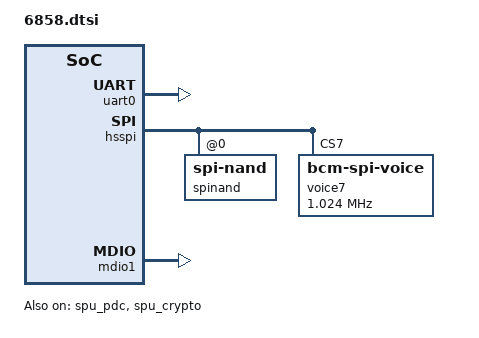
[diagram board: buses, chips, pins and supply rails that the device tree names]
/dts-v1/;

#include <dt-bindings/interrupt-controller/arm-gic.h>
#include <dt-bindings/interrupt-controller/irq.h>

#include "linux_autoconf.h"

#include "../../boot_rsvdmem.dtsi"
#include "../../bcm_thermal.dtsi"

/ {
	/* memory reservations */
	#include "../../bcm_rsvdmem.dtsi"

	/* memc */
	memory_controller {
		#define MEMC_REG_NAMES	"memc-int-clear-reg", \
					"memc-int-mask-clear-reg", \
					"phyctl_idle_pad_ctl",  \
					"phyctl_idle_pad_en0",  \
					"phyctl_idle_pad_en1",  \
					"phybl0_idle_pad_ctl",  \
					"phybl1_idle_pad_ctl",  \
					"phybl2_idle_pad_ctl",  \
					"phybl3_idle_pad_ctl",  \
					"phybl0_clock_idle",    \
					"phybl1_clock_idle",    \
					"phybl2_clock_idle",    \
					"phybl3_clock_idle",    \
					"auto_self_refresh",    \
					"glb_gcfg"

		#define MEMC_REG	<0 0x80180E08 0 4>, \
					<0 0x80180E14 0 4>, \
					<0 0x801A0034 0 4>, \
					<0 0x801A0038 0 4>, \
					<0 0x801A003C 0 4>, \
					<0 0x801A04AC 0 4>, \
					<0 0x801A06AC 0 4>, \
					<0 0x801A08AC 0 4>, \
					<0 0x801A0AAC 0 4>, \
					<0 0x801A04E0 0 4>, \
					<0 0x801A06E0 0 4>, \
					<0 0x801A08E0 0 4>, \
					<0 0x801A0AE0 0 4>, \
					<0 0x8018025C 0 4>, \
					<0 0x80180004 0 4>

		#define MEMC_CPU_INT_LINE		18

		#include "../../ip/memc.dtsi"
	};

	aliases {
		serial0 = &uart0;
		serial1 = &uart1;
		spi1 = &hsspi; /* 0 = legacy, 1 = high speed */
		hs_serial0 = &hs_uart0;
		spinand0 = &spinand;
		nand0 = &nand;
	};

	chosen {
		stdout-path = "serial0:115200n8";
		/* increase coherent_pool size */
		bootargs = "coherent_pool=4M cpuidle_sysfs_switch pci=pcie_bus_safe console=ttyS0,115200 earlyprintk  rootwait rng_core.default_quality=1024";
	};

	/* clocks */
	#define PERIPH_CLK			200000000
	#define HS_SPI_PLL_CLK		400000000
	#include "../../ip/bcm_clocks.dtsi"

	misc_io {
		compatible = "brcm,misc-io";
		misc-periph-chip-id-rev = <0x0 0xff800000 0x0 0x4>;
		misc-periph-chip-id-mask = <0xffff0000>;
		misc-periph-chip-id-shift = <16>;
		misc-periph-chip-rev-mask = <0xff>;
	};

	/* PMC */
	pmc: pmc {
		#define PMC_REG_OFFSET              0x0 0x80201000
		#define PMC_REG_SIZE                0x0 0x3800
		#define PROCMON_REG_OFFSET          0x0 0x80280000
		#define PROCMON_REG_SIZE            0x0 0x184
		#include "../../ip/bcm_pmc_1_x.dtsi"
	};

	cci: cci {
		#define CCI_OFFSET					0x0 0x81090000 
		#define CCI_SIZE					0x0 0x6000
		#define SLAVEINTF_CPU_NUM			3
		#include "../../ip/bcm_arm_cci400.dtsi"
	};

	/* wan type auto detect */
	wantype_detect {
		#define GPON_GENERAL_CONFIG_ADDR	0x0 0x80150000
		#define GPON_GENERAL_CONFIG_SIZE	0x0 0x10
		#define EPON_TOP_ADDR			0x0 0x80140000
		#define EPON_TOP_SIZE			0x0 0x1C
		#define EPON_LIF_ADDR			0x0 0x80141800
		#define EPON_LIF_SIZE			0x0 0x110
		#define EPON_XPCSR_ADDR			0x0 0x80143000
		#define EPON_XPCSR_SIZE			0x0 0x124
		#define NGPON_RXGEN_ADDR		0x0 0x80160000
		#define NGPON_RXGEN_SIZE		0x0 0x80
		#include "../../ip/bcm_wantype_detect.dtsi"
	};

#if (defined(CONFIG_BCM_PDC) || defined(CONFIG_BCM_PDC_MODULE)) && \
    (defined(CONFIG_BCM_SPU) || defined(CONFIG_BCM_SPU_MODULE))
	/* spu */
	#define SPU_DMA_ADDR			0x00000000 0x8001c000
	#define SPU_DMA_SIZE			0x00000000 0x448
	#define SPU_DMA_NUM_CHAN		1
	#define SPU_DMA_NUM_AE			1
	#define SPU_CRYPTO_ADDR			0x00000000 0x8001d000
	#define SPU_CRYPTO_SIZE			0x00000000 0x64
	#define SPU_GMAC_SPI			118
	#include "../../ip/bcm_spu.dtsi"
#endif

	sata0: sata {
		#define AHCI_ADDR		0x0 0x8000a000
		#define AHCI_SIZE		0x0 0x2c
		#define SATA_CTRL_ADDR	0x0 0x80008000
		#define SATA_CTRL_SIZE	0x0 0x2000
		#define AHCI_SS_ADDR	0x0 0x8000a100
		#define AHCI_SS_SIZE	0x0 0x80
		#define AHCI_IRQ		45
		#include "../../ip/bcm_sata.dtsi"
	};

	/* UBUS */
	ubus: ubus {
		compatible = "simple-bus";
		#address-cells = <2>;
		#size-cells = <2>;
		ranges;

		ubus_sys: ubus_sys {
			#address-cells = <2>;
			#size-cells = <2>;
			#define UBUS_SYSTOP_OFFSET         0x0 0x83000000
			#define UBUS_SYSTOP_SIZE           0x0 0x80
			#define UBUS_REGISTRATION_OFFSET   0x0 0x83000200
			#define UBUS_REGISTRATION_SIZE     0x0 0x80
			#define UBUS_COHERENCY_PORT_OFFSET 0x0 0x810A0400
			#define UBUS_COHERENCY_PORT_SIZE   0x0 0x400
			#define UBUS_MODULE_XRDP           0x0
			#include "../../ip/bcm_ubus4.dtsi"
			ubus_mst_sys: ubus_mst {
				reg-names = "BIU", "PER", "USB", "PERDMA",
					"SPU", "PCIE0", "PCIE2", "PMC",
					"TOP_BUFF";
				reg = <0x0 0x83020000 0x0 0x1000>,
					<0x0 0x83058000 0x0 0x1000>,
					<0x0 0x83038000 0x0 0x1000>,
					<0x0 0x83060000 0x0 0x1000>,
					<0x0 0x83030000 0x0 0x1000>,
					<0x0 0x8300C000 0x0 0x1000>,
					<0x0 0x83014000 0x0 0x1000>,
					<0x0 0x83044000 0x0 0x1000>,
					<0x0 0x830e0000 0x0 0x1000>;
			};
		};

		ubus_xrdp: ubus_xrdp {
			#address-cells = <2>;
			#size-cells = <2>;
			#define UBUS_SYSTOP_OFFSET        0x0 0x834d4000
			#define UBUS_SYSTOP_SIZE          0x0 0x80
			#define UBUS_REGISTRATION_OFFSET  0x0 0x834d4200
			#define UBUS_REGISTRATION_SIZE    0x0 0x80
			#define UBUS_MODULE_XRDP          0x1
			#include "../../ip/bcm_ubus4.dtsi"
			ubus_mst_xrdp: ubus_mst {
				reg-names = "QM", "DQM", "DMA0", "DMA1",
					"NATC", "RQ0", "RQ1", "RQ2",
					"RQ3", "XRDP_BUFF";
				reg = <0x0 0x834AC000 0x0 0x1000>,
					<0x0 0x834A4000 0x0 0x1000>,
					<0x0 0x83464000 0x0 0x1000>,
					<0x0 0x83468000 0x0 0x1000>,
					<0x0 0x834A0000 0x0 0x1000>,
					<0x0 0x83480000 0x0 0x1000>,
					<0x0 0x83488000 0x0 0x1000>,
					<0x0 0x83490000 0x0 0x1000>,
					<0x0 0x83498000 0x0 0x1000>,
					<0x0 0x834e4000 0x0 0x1000>;
			};
		};

		ubus_dcm_sys: ubus_dcm_sys {
			#define UBUS_DCM_CLK_OFFSET  0x0 0x83000080
			#define UBUS_DCM_CLK_SIZE    0x0 0x80
			#define UBUS_MODULE_XRDP     0x0
			#include "../../ip/bcm_ubus4_dcm.dtsi"
		};
		ubus_dcm_xrdp: ubus_dcm_xrdp {
			#define UBUS_DCM_CLK_OFFSET  0x0 0x834d4080
			#define UBUS_DCM_CLK_SIZE    0x0 0x80
			#define UBUS_MODULE_XRDP     0x1
			#include "../../ip/bcm_ubus4_dcm.dtsi"
		};
	};

	periph {
		compatible = "simple-bus";
		#address-cells = <2>;
		#size-cells = <2>;
		ranges = <0x0 0x0 0x0 0xff800000 0x0 0x62000>;

		strap: strap {
			#define STRAP_REG_OFFSET            0x0 0x2600
			#define STRAP_REG_SIZE              0x0 0x4
			#include "../../ip/bcm_strap.dtsi"
			boot-select-0=<5 1>;
			boot-select-1=<6 1>;
			boot-select-2=<7 1>;
			boot-select-3=<8 1>;
			boot-select-4=<9 1>;
			boot-select-5=<11 1>;
			bootrom-boot=<10 0>;
			sata-strap-enable-bit=<3 0>;
			strap-cpu-slow-freq=<14 1>;
		};

		dying_gasp: dying_gasp {
			#define DG_PERIPH_REG_OFFSET	0x0 0x26D8
			#define DG_PERIPH_REG_SIZE	0x0 0x4
			#define DG_UART_DR_OFFSET	0x0 0x654
			#define DG_UART_DR_SIZE		0x0 0x4
			#include "../../ip/bcm_dgasp_periph.dtsi"
			interrupts = <GIC_SPI 29 IRQ_TYPE_LEVEL_HIGH>;
		};

		otp: otp {
			#define OTP_REG_OFFSET            0x0 0xe00 
			#define OTP_REG_SIZE              0x0 0x3c
			#include "../../ip/bcm_otp.dtsi"
			sec-additional-validation;
		};

    	/* boot state */
		boot_state: boot_state {
			#define RESET_REASON_OFFSET  0x0 0x2624
			#define RESET_REASON_SIZE    0x0 0x4
			#define RESET_STATUS_OFFSET  0x0 0x2748
			#define RESET_STATUS_SIZE    0x0 0x4
			#include "../../ip/bcm_boot_state_v2.dtsi"
		};

		/* NAND controller */
		nand: nand {
			pinctrl-0 = <&data_pins &nand_ctrl_pins>;
			pinctrl-names = "default";
			#define NAND_CTRL_OFFSET		0x0 0x1800
			#define NAND_CTRL_SIZE			0x0 0x400
			#define NAND_INTR_OFFSET		0x0 0x2000
			#define NAND_INTR_SIZE			0x0 0x10
			#define NAND_CACHE_OFFSET		0x0 0x1C00
			#define NAND_CACHE_SIZE			0x0 0x200
			#include "../../ip/bcm_nand7_1.dtsi"
		};

	   	/* EMMC */
		sdhci: sdhci {
			pinctrl-0 = <&emmc_ctrl_pins>;
			pinctrl-names="default";
			#define SDHCI_OFFSET			0x00000000 0x58000
			#define SDHCI_SIZE			0x00000000 0x100
			#define SDHCI_TOPCFG_OFFSET		0x00000000 0x58100
			#define SDHCI_TOPCFG_SIZE		0x00000000 0x100
			#define SDHCI_BOOT_OFFSET		0x00000000 0x58200
			#define SDHCI_BOOT_SIZE			0x00000000 0x40
			#define SDHCI_AHBSS_CTRL_OFFSET		0x00000000 0x58300
			#define SDHCI_AHBSS_CTRL_SIZE		0x00000000 0x100
			#define SDIO_EMMC_SPI			95
			#include "../../ip/bcm_sdhci.dtsi"
		};

		hs_uart0: hs_serial0 {
			#define UART_OFFSET			0x0 0x58400
			#define UART_SIZE			0x0 0x1E0
			#define UART_SPI 			93
			#include "../../ip/bcm_hs_uart.dtsi"
		};

		/* UART 1*/
		uart0: serial0 {
			#define UART_OFFSET			0x0 0x640
			#define UART_SIZE			0x0 0x18
			#define UART_SPI 			32
			#include "../../ip/bcm_uart.dtsi"
		};

		/* UART 2*/
		uart1: serial1 {
			#define UART_OFFSET			0x0 0x660
			#define UART_SIZE			0x0 0x18
			#define UART_SPI 			33
			#include "../../ip/bcm_uart.dtsi"
		};

		/* HS SPI */
		hsspi: spi {
			pinctrl-0 = <&spim_group_pins>;
			pinctrl-names = "default";
			#define HS_SPI_OFFSET			0x0 0x1000
			#define HS_SPI_SIZE			0x0 0x600
			#define HS_SPI_MAX_FREQ			50000000
			/* #define HS_SPIM_SPI			37 */
			#include "../../ip/bcm_hsspi.dtsi"
			spinand: spi-nand@0 {
				pinctrl-0 = <&spim_ss0_b_pin_105>;
				pinctrl-names = "default";
				#define SPINAND_MAX_FREQ	50000000
				#include "../../ip/bcm_spinand.dtsi"
			};
			voice7 {
				pinctrl-0 = <&a_pcm_sdin_pin_0 &a_pcm_sdout_pin_1 &a_pcm_clk_pin_2 &a_pcm_fs_pin_3>;
				pinctrl-names = "default";
				compatible = "bcm-spi-voice";
				reg = <7>; /* chip select 7 */
				spi-index = <7>;/* ZSI/ISI header position index */
				spi-max-frequency = <1024000>;
			};
		};

		bcm63xx-apm-pcm {
			compatible = "brcm,bcm63xx-apm-pcm";
			reg = <0x0 0x60000 0x0 0x1c60>;
			interrupts = <GIC_SPI 114 IRQ_TYPE_LEVEL_HIGH>;
		};		

		rng: rng {
			#define RNG200_OFFSET			0x0 0x00000b80
			#define RNG200_SIZE			0x0 0x28
			#include "../../ip/bcm_rng200.dtsi"
		};

		i2c0: i2c0 {
			#define I2C_OFFSET			0x0 0x2100
			#define I2C_SIZE			0x0 0x60
			#include "../../ip/bcm_i2c_bus.dtsi"
		};

		/* use second i2c bus for pon sfp i2c device */
		i2c1: i2c1 {
			#define I2C_OFFSET			0x0 0x5a800
			#define I2C_SIZE			0x0 0x60
			#include "../../ip/bcm_i2c_bus.dtsi"
		};

		/* watchdog */
		wdt: watchdog {
			#define WATCHDOG_OFFSET			0x0 0x2780
			#define WATCHDOG_SIZE			0x0 0x10
			#define WATCHDOG_TIMEOUT		80
			#include "../../ip/bcm_wdt.dtsi"
			interrupts = <GIC_SPI 14 IRQ_TYPE_LEVEL_HIGH>;
		};

		/* periph timers */
		timers: timers {
			#define TIMERS_OFFSET		0x0 0x2700
			#define TIMERS__SIZE		0x0 0x48
			#define TIMER0_SPI			64
			#define TIMER1_SPI			65
			#define TIMER2_SPI			66
			#define TIMER3_SPI			67
			#include "../../ip/bcm_timer.dtsi"
		};

		/* watchdog reboot */
		wdt-reboot {
			compatible = "wdt-reboot";
			wdt = <&wdt>;
		};
		
		/* sotp */
		sotp {
			#define SOTP_OFFSET			0x0 0xc00
			#define SOTP_SIZE			0x0 0x84
			#include "../../ip/bcm_sotp.dtsi"
		};
		
		/* pinctrl */
		pincontroller: pinctrl {
			#define PINCTRL_OFFSET       0x0 0x554
			#define PINCTRL_SIZE         0x0 0xc
			#define PINCTRL_NUM_PINS     118
			#define PINCTRL_NUM_FUNC     8
			#define PINCTRL_GPIO_FUNC    5
			#include "../../ip/bcm_bca_pinctrl.dtsi"
			#include "6858_pinctrl.dtsi"
		};

		/* gpio */
		gpioc: gpioc {
			#define GPIO_DIR_OFFSET      0x0 0x500
			#define GPIO_DIR_SIZE        0x0 0x20
			#define GPIO_DATA_OFFSET     0x0 0x520
			#define GPIO_DATA_SIZE       0x0 0x20
			#define NUM_OF_GPIOS         118
			#include "../../ip/bcm_bca_gpio.dtsi"
		};

		/* external interrups */
		bca_extintr: bca_extintr0 {
			#define EXTINTR_OFFSET       0x0 0x4
			#define EXTINTR_SIZE         0x0 0x48
			#define MAX_EXT_INTR         8
			#include "../../ip/bcm_bca_extintr.dtsi"
			external_interrupts = <105 106 107 108 109 110 48 49>;
			clear_workarround;
		};
			
		/* Led Controller */
		led_ctrl: led_ctrl {
			#define LED_GLBL_CTRL_OFFSET     0x0 0x800
			#define LED_GLBL_CTRL_SIZE       0x0 0x4 
			#define LED_HW_EN_OFFSET         0x0 0x808
			#define LED_HW_EN_SIZE           0x0 0x4
			#define LED_SER_SHIFT_OFFSET     0x0 0x80c
			#define LED_SER_SHIFT_SIZE       0x0 0x4
			#define LED_FLASH_RATE_OFFSET    0x0 0x810
			#define LED_FLASH_RATE_SIZE      0x0 0x10
			#define LED_BRIGHTNESS_OFFSET    0x0 0x820
			#define LED_BRIGHTNESS_SIZE      0x0 0x10
			#define LED_POWER_LED_CFG_OFFSET 0x0 0x830
			#define LED_POWER_LED_CFG_SIZE   0x0 0x4
			#define LED_POWER_LUT_OFFSET     0x0 0x834
			#define LED_POWER_LUT_SIZE       0x0 0x80
			#define LED_HW_POLARITY_OFFSET   0x0 0x8b4
			#define LED_HW_POLARITY_SIZE     0x0 0x4
			#define LED_SW_DATA_OFFSET       0x0 0x8b8
			#define LED_SW_DATA_SIZE         0x0 0x4
			#define LED_SW_POLARITY_OFFSET   0x0 0x8bc
			#define LED_SW_POLARITY_SIZE     0x0 0x4
			#define LED_PAR_POLARITY_OFFSET  0x0 0x8c0
			#define LED_PAR_POLARITY_SIZE    0x0 0x4
			#define LED_SER_POLARITY_OFFSET  0x0 0x8c4
			#define LED_SER_POLARITY_SIZE    0x0 0x4
			#define LED_MASK_OFFSET          0x0 0x804
			#define LED_MASK_SIZE            0x0 0x4
			#define MAX_SUPPORTED_LEDS       32

			hw-polarity-quirk = <0xc0000000>;
			status = "okay";
			#include "../../ip/bcm_led_ctrl.dtsi"
			#include "6858_leds.dtsi"
		};
	};

	legacy_leds: legacy_leds {
		compatible = "brcm,legacy-led";
	};

	/* network configuration */
    egphy: egphy {
		compatible = "brcm,egphy";
        reg = <0x0 0x8013c040 0x0 0x0c>;
    };

    serdes {
		compatible = "brcm,serdes1";
        reg = <0x0 0x8013c00c 0x0 0x50>;
    };

    mdio1 {
        compatible = "brcm,mdio1";
        reg = <0x0 0x8013d400 0x0 0x10>;
    };

	lport {
		compatible = "brcm,lport";
        reg = <0x0 0x80138000 0x0 0x8000>,
              <0x0 0xff802600 0x0 0xe4>,
              <0x0 0x82d2b000 0x0 0xe80>;
        interrupts = <GIC_SPI 28 IRQ_TYPE_LEVEL_HIGH>,
                     <GIC_SPI 26 IRQ_TYPE_LEVEL_HIGH>;
    };

		mdio_lport: mdio_lport {
			compatible = "simple-bus";

			#address-cells = <1>;
			#size-cells = <0>;
			bus-type = "MDIO_V1";

			lportphy1:1 {
				compatible = "brcm,bcaphy";
				phy-type = "EGPHY";
				reg = <1>;
				caps-no-hdx;
				status = "disabled";
			};

			lportphy2:2 {
				compatible = "brcm,bcaphy";
				phy-type = "EGPHY";
				reg = <2>;
				caps-no-hdx;
				status = "disabled";
			};

			lportphy3:3 {
				compatible = "brcm,bcaphy";
				phy-type = "EGPHY";
				reg = <3>;
				caps-no-hdx;
				status = "disabled";
			};

			lportphy4:4 {
				compatible = "brcm,bcaphy";
				phy-type = "EGPHY";
				reg = <4>;
				caps-no-hdx;
				status = "disabled";
			};

			lportphy1e:1e {
				compatible = "brcm,bcaphy";
				phy-type = "EXT3";
				reg = <0x1e>;
				caps-no-hdx;
				status = "disabled";
			};

			lportphy1b:1b {
				compatible = "brcm,bcaphy";
				phy-type = "EXT3";
				reg = <0x1b>;
				caps-no-hdx;
				status = "disabled";
			};

			lportphy18:18 {
				compatible = "brcm,bcaphy";
				phy-type = "EXT2";
				reg = <0x18>;
				caps-no-hdx;
				status = "disabled";
			};

			lportphy19:19 {
				compatible = "brcm,bcaphy";
				phy-type = "EXT2";
				reg = <0x19>;
				caps-no-hdx;
				status = "disabled";
			};

			lportphy5:5 {
				compatible = "brcm,bcaphy";
				phy-type = "EXT1";
				reg = <0x5>;
				caps-no-hdx;
				status = "disabled";
			};

			lportphy6:6 {
				compatible = "brcm,bcaphy";
				phy-type = "EXT1";
				reg = <0x6>;
				caps-no-hdx;
				status = "disabled";
			};

			lportphy7:7 {
				compatible = "brcm,bcaphy";
				phy-type = "EXT1";
				reg = <0x7>;
				caps-no-hdx;
				status = "disabled";
			};
		};

		serdes_lport: serdes_lport {
			compatible = "simple-bus";

			#address-cells = <1>;
			#size-cells = <0>;
			bus-type = "MDIO_V1";

			lportsrds0:0 {
				compatible = "brcm,bcaphy";
				phy-type = "MPTWO";
				reg = <0x10>;
                serdes-core = <0>;
                serdes-lane = <0>;
				caps-no-hdx;
				status = "disabled";
			};

			lportsrds1:1 {
				compatible = "brcm,bcaphy";
				phy-type = "MPTWO";
				reg = <0x11>;
                serdes-core = <0>;
                serdes-lane = <1>;
				caps-no-hdx;
				status = "disabled";
			};

			lportsrds2:2 {
				compatible = "brcm,bcaphy";
				phy-type = "MPTWO";
				reg = <0x14>;
                serdes-core = <1>;
                serdes-lane = <0>;
				caps-no-hdx;
				status = "disabled";
			};

			lportsrds3:3 {
				compatible = "brcm,bcaphy";
				phy-type = "MPTWO";
				reg = <0x15>;
                serdes-core = <1>;
                serdes-lane = <1>;
				caps-no-hdx;
				status = "disabled";
			};

			lportsrds4:4 {
				compatible = "brcm,bcaphy";
				phy-type = "MPTWO";
				reg = <0x11>;
                serdes-core = <0>;
                serdes-lane = <1>;
				caps-no-hdx;
				status = "disabled";
			};

			lportsrds5:5 {
				compatible = "brcm,bcaphy";
				phy-type = "MPTWO";
				reg = <0x14>;
                serdes-core = <1>;
                serdes-lane = <0>;
				caps-no-hdx;
				status = "disabled";
			};

			lportsrds6:6 {
				compatible = "brcm,bcaphy";
				phy-type = "MPTWO";
				reg = <0x15>;
                serdes-core = <1>;
                serdes-lane = <1>;
				caps-no-hdx;
				status = "disabled";
			};

			lportsrds7:7 {
				compatible = "brcm,bcaphy";
				phy-type = "MPTWO";
				reg = <0x10>;
                serdes-core = <0>;
                serdes-lane = <0>;
				caps-no-hdx;
				status = "disabled";
			};
		};

    wan_serdes_bus {
        compatible = "simple-bus";

        #address-cells = <1>;
        #size-cells = <0>;

        phy_wan_serdes: phy_wan_serdes {
            compatible = "brcm,bcaphy";
            phy-type = "PON";
            reg = <0>;
            status = "disabled";
        };
    };

	switch0: switch0 {
        pinctrl-names = "default", "rgmii1", "rgmii2", "rgmii3";
        pinctrl-0 = <>;
        pinctrl-1 = <&rgmii1_pins>;
        pinctrl-2 = <&rgmii2_pins>;
        pinctrl-3 = <&rgmii3_pins>;

		compatible = "brcm,enet";
		label = "bcmsw";
		sw-type = "RUNNER_SW";

		ports {
			#address-cells = <1>;
			#size-cells = <0>;

			port_gphy0 {
				reg = <4>;
				mac-type = "LPORT";
				mac-index = <0>;
				phy-handle = <&lportphy1>;
				phy-mode = "gmii";
				status = "disabled";
			};

			port_hsgmii0 {
				reg = <4>;
				mac-type = "LPORT";
				mac-index = <0>;
				phy-mode = "hsgmii";
				phy-handle = <&lportsrds0>;
				status = "disabled";
			};

			port_gphy1 {
				reg = <1>;
				mac-type = "LPORT";
				phy-handle = <&lportphy2>;
				phy-mode = "gmii";
				status = "disabled";
			};

			port_xfi_hsgmii1@hsgmii1 {
				reg = <1>;
				mac-type = "LPORT";
				phy-mode = "hsgmii";
 				phy-handle = <&lportsrds1>;
				status = "disabled";
			};

			port_gphy2 {
				reg = <2>;
				mac-type = "LPORT";
				phy-handle = <&lportphy3>;
				phy-mode = "gmii";
				status = "disabled";
			};

			port_hsgmii2 {
				reg = <2>;
				mac-type = "LPORT";
				phy-mode = "hsgmii";
                phy-handle = <&lportsrds2>;
				status = "disabled";
			};

			port_gphy3 {
				reg = <3>;
				mac-type = "LPORT";
				phy-handle = <&lportphy4>;
				phy-mode = "gmii";
				status = "disabled";
			};

			port_hsgmii3 {
				reg = <3>;
				mac-type = "LPORT";
				phy-mode = "hsgmii";
                phy-handle = <&lportsrds3>;
				status = "disabled";
			};

			port_xfi_hsgmii1@xfi4 {
				reg = <0>;
				mac-type = "LPORT";
				mac-index = <4>;
				phy-mode = "xfi";
                phy-handle = <&lportsrds4>;
				status = "disabled";
			};

			port_rgmii1 {
				reg = <0>;
				mac-type = "LPORT";
				mac-index = <4>;
				phy-mode = "rgmii";
				tx-delay;
				mii-pinctrl-state = "rgmii3";
				status = "disabled";
			};

			port_rgmii2 {
				reg = <5>;
				mac-type = "LPORT";
				phy-mode = "rgmii";
				tx-delay;
				mii-pinctrl-state = "rgmii1";
				status = "disabled";
			};

			port_rgmii3 {
				reg = <6>;
				mac-type = "LPORT";
				phy-mode = "rgmii";
				tx-delay;
				mii-pinctrl-state = "rgmii2";
				status = "disabled";
			};

			port_wan {
				reg = <8>;
				phy-handle = <&phy_wan_serdes>;
				phy-mode = "serdes";
				detect;
				is-wan;
				is-wanconf-mux-ae;
				is-wanconf-mux-pon;
				status = "disabled";
			};
		};
	};
#if defined (CONFIG_MMC_OOPS) || (CONFIG_MMC_OOPS_MODULE)
	mmcoops {
		#define MMC_OOPS_DUMP_OFFSET	1536 /* 768KB */
		#define MMC_OOPS_DUMP_SIZE	512  /* 256KB */	
		#define MMC_OOPS_DUMP_RECSIZE	64   /* 32KB */	
		#include "../../ip/bcm_mmc_oops.dtsi"
	};
#endif
#if defined(CONFIG_BCM_CPUIDLE_CLK_DIVIDER)
	biucfg {
		compatible = "brcm,bcm-biucfg";
		reg-names = "cluster_clk_ctrl0",
				"cluster_clk_pattern0";
		reg = <0x0 0x81060710 0x0 0x4>,
				<0x0 0x81060718 0x0 0x4>;
	};
#endif

    gpon_drv {
        compatible = "brcm,gpon-drv";
        reg = <0x0 0x80148000 0x0 0x9000>;
        interrupts = <GIC_SPI 99  IRQ_TYPE_LEVEL_HIGH>, /* INTERRUPT_WAN_GPON_RX */
                     <GIC_SPI 98  IRQ_TYPE_LEVEL_HIGH>; /* INTERRUPT_WAN_GPON_TX */
        interrupt-names = "gpon_rx", "gpon_tx";
    };
    ngpon_drv {
        compatible = "brcm,ngpon-drv";
        reg = <0x0 0x80160000 0x0 0xd100>;
        interrupts = <GIC_SPI 86  IRQ_TYPE_LEVEL_HIGH>, /* INTERRUPT_WAN_XGRX */
                     <GIC_SPI 88  IRQ_TYPE_LEVEL_HIGH>, /* INTERRUPT_WAN_XGTX_INTR0 */
                     <GIC_SPI 87  IRQ_TYPE_LEVEL_HIGH>; /* INTERRUPT_WAN_XGTX_INTR1 */
        interrupt-names = "ngpon_rx", "ngpon_tx0", "ngpon_tx1";
    };
   
    /* xrdp,wan_bbh */
    rdpa_drv {
        compatible = "brcm,rdpa";
        reg = <0x0 0x82000000 0x0 0xE51000>, 
        <0x0 0x80170000 0x0 0x4000>;
        interrupts = <GIC_SPI 161 IRQ_TYPE_LEVEL_HIGH>, /* INTERRUPT_XRDP_FPM */
                     <GIC_SPI 128 IRQ_TYPE_LEVEL_HIGH>, /* INTERRUPT_XRDP_QUEUE_0 */
                     <GIC_SPI 129 IRQ_TYPE_LEVEL_HIGH>, /* INTERRUPT_XRDP_QUEUE_1 */
                     <GIC_SPI 130 IRQ_TYPE_LEVEL_HIGH>, /* INTERRUPT_XRDP_QUEUE_2 */
                     <GIC_SPI 131 IRQ_TYPE_LEVEL_HIGH>, /* INTERRUPT_XRDP_QUEUE_3 */
                     <GIC_SPI 132 IRQ_TYPE_LEVEL_HIGH>, /* INTERRUPT_XRDP_QUEUE_4 */
                     <GIC_SPI 133 IRQ_TYPE_LEVEL_HIGH>, /* INTERRUPT_XRDP_QUEUE_5 */
                     <GIC_SPI 134 IRQ_TYPE_LEVEL_HIGH>, /* INTERRUPT_XRDP_QUEUE_6 */
                     <GIC_SPI 135 IRQ_TYPE_LEVEL_HIGH>, /* INTERRUPT_XRDP_QUEUE_7 */
                     <GIC_SPI 136 IRQ_TYPE_LEVEL_HIGH>, /* INTERRUPT_XRDP_QUEUE_8 */
                     <GIC_SPI 137 IRQ_TYPE_LEVEL_HIGH>, /* INTERRUPT_XRDP_QUEUE_9 */
                     <GIC_SPI 138 IRQ_TYPE_LEVEL_HIGH>, /* INTERRUPT_XRDP_QUEUE_10 */
                     <GIC_SPI 139 IRQ_TYPE_LEVEL_HIGH>, /* INTERRUPT_XRDP_QUEUE_11 */
                     <GIC_SPI 140 IRQ_TYPE_LEVEL_HIGH>, /* INTERRUPT_XRDP_QUEUE_12 */
                     <GIC_SPI 141 IRQ_TYPE_LEVEL_HIGH>, /* INTERRUPT_XRDP_QUEUE_13 */
                     <GIC_SPI 142 IRQ_TYPE_LEVEL_HIGH>, /* INTERRUPT_XRDP_QUEUE_14 */
                     <GIC_SPI 143 IRQ_TYPE_LEVEL_HIGH>, /* INTERRUPT_XRDP_QUEUE_15 */
                     <GIC_SPI 144 IRQ_TYPE_LEVEL_HIGH>, /* INTERRUPT_XRDP_QUEUE_16 */
                     <GIC_SPI 145 IRQ_TYPE_LEVEL_HIGH>, /* INTERRUPT_XRDP_QUEUE_17 */
                     <GIC_SPI 146 IRQ_TYPE_LEVEL_HIGH>, /* INTERRUPT_XRDP_QUEUE_18 */
                     <GIC_SPI 147 IRQ_TYPE_LEVEL_HIGH>, /* INTERRUPT_XRDP_QUEUE_19 */
                     <GIC_SPI 148 IRQ_TYPE_LEVEL_HIGH>, /* INTERRUPT_XRDP_QUEUE_20 */
                     <GIC_SPI 149 IRQ_TYPE_LEVEL_HIGH>, /* INTERRUPT_XRDP_QUEUE_21 */
                     <GIC_SPI 150 IRQ_TYPE_LEVEL_HIGH>, /* INTERRUPT_XRDP_QUEUE_22 */
                     <GIC_SPI 151 IRQ_TYPE_LEVEL_HIGH>, /* INTERRUPT_XRDP_QUEUE_23 */
                     <GIC_SPI 152 IRQ_TYPE_LEVEL_HIGH>, /* INTERRUPT_XRDP_QUEUE_24 */
                     <GIC_SPI 153 IRQ_TYPE_LEVEL_HIGH>, /* INTERRUPT_XRDP_QUEUE_25 */
                     <GIC_SPI 154 IRQ_TYPE_LEVEL_HIGH>, /* INTERRUPT_XRDP_QUEUE_26 */
                     <GIC_SPI 155 IRQ_TYPE_LEVEL_HIGH>, /* INTERRUPT_XRDP_QUEUE_27 */
                     <GIC_SPI 156 IRQ_TYPE_LEVEL_HIGH>, /* INTERRUPT_XRDP_QUEUE_28 */
                     <GIC_SPI 157 IRQ_TYPE_LEVEL_HIGH>, /* INTERRUPT_XRDP_QUEUE_29 */
                     <GIC_SPI 158 IRQ_TYPE_LEVEL_HIGH>, /* INTERRUPT_XRDP_QUEUE_30 */
                     <GIC_SPI 159 IRQ_TYPE_LEVEL_HIGH>; /* INTERRUPT_XRDP_QUEUE_31 */
        interrupt-names = "fpm", "queue0", "queue1", "queue2", "queue3", "queue4", "queue5",
                          "queue6", "queue7", "queue8", "queue9", "queue10", "queue11", 
                          "queue12", "queue13", "queue14", "queue15", "queue16", "queue17",
                          "queue18", "queue19", "queue20", "queue21", "queue22", "queue23",
                          "queue24", "queue25", "queue26", "queue27", "queue28", "queue29",
                          "queue30", "queue31";
    };
    wan_serdes {
        compatible = "brcm,pon-drv";
        status = "disabled";
        reg = <0x0 0x80144000 0x0 0x0100>;
    };
    epon_drv {
        compatible = "brcm,epon-drv";
        reg = <0x0 0x80140000 0x0 0x4000>;
    };
};

&uart0 {
	status = "okay";
};
#if (defined(CONFIG_BCM_PDC) || defined(CONFIG_BCM_PDC_MODULE)) && \
    (defined(CONFIG_BCM_SPU) || defined(CONFIG_BCM_SPU_MODULE))
&spu_pdc {
	status = "okay";
};
&spu_crypto {
	status = "okay";
};

#endif
